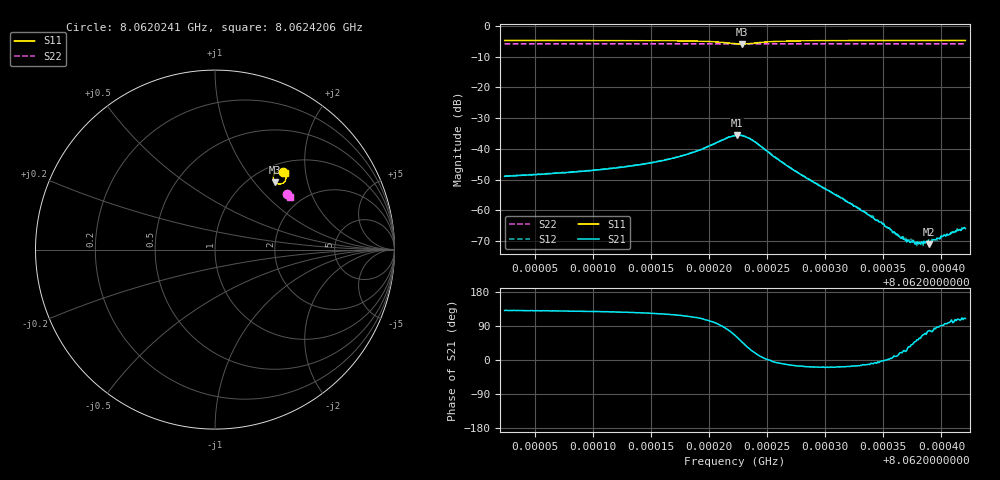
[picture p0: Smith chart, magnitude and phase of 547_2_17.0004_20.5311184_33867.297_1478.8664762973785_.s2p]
#  HZ  S  RI  R  50.00
! Rohde & Schwarz Vector Network Analyzer
! Rohde-Schwarz,ZNB20-2Port,1311601062101988,3.16
! Created: UTC 3/20/2024, 11:16:39 PM
! freq[Hz]  re:S11  im:S11  re:S21  im:S21  re:S12  im:S12  re:S22  im:S22
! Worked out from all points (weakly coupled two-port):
!   401 points, 8.0620241 GHz to 8.0624206 GHz, reference 50 ohm
!   highest |S21| = -35.57 dB at 8.0622243 GHz (marker M1); lowest = -70.9 dB at 8.0623889 GHz (marker M2)
!   lowest |S11| = -6.0 dB at 8.0622283 GHz (marker M3), VSWR 3.02, Z = 64.1 + j64.4 ohm
!   |S11| at or under -10 dB: nowhere
!   |S22| runs from -5.9 to -5.9 dB; largest |S21 - S12| = 0.0011
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8.06202406e9  0.3785 0.4342  -0.00233 0.00271  -0.00219 0.00288  0.4037 0.3101
8.06209048e9  0.3843 0.4283  -0.00269 0.00337  -0.00251 0.00354  0.406 0.3066
8.0621569e9  0.3919 0.4169  -0.00332 0.00533  -0.00303 0.00554  0.4085 0.3028
8.06218565e9  0.3956 0.4037  -0.00344 0.00796  -0.00302 0.00825  0.4095 0.3008
8.06220746e9  0.3889 0.38  -0.00118 0.0129  -0.000476 0.0129  0.4098 0.2988
8.06222233e9  0.3543 0.3655  0.0069 0.0149  0.0079 0.0145  0.4084 0.298
8.06222431e9  0.3474 0.3674  0.00849 0.0143  0.00931 0.0138  0.4081 0.2981
8.06222828e9  0.335 0.3753  0.0111 0.0121  0.0118 0.0116  0.4077 0.2984
8.06223918e9  0.3254 0.4093  0.0124 0.00434  0.0127 0.00359  0.4083 0.2995
8.06226595e9  0.355 0.4359  0.00541 -0.00109  0.00541 -0.00144  0.4107 0.299
8.06228875e9  0.368 0.4354  0.0028 -0.000931  0.00283 -0.00111  0.4119 0.2977
8.06233931e9  0.3803 0.4308  0.000789 -0.000116  0.00078 -0.000199  0.4143 0.2949
8.06235517e9  0.3826 0.4295  0.000513 1.76e-05  0.00052 -9.42e-06  0.4148 0.2941
8.06236211e9  0.3835 0.4288  0.000403 7.87e-05  0.000394 7.31e-05  0.4151 0.2936
8.06237103e9  0.3844 0.4283  0.00028 0.000179  0.000292 0.000134  0.4154 0.2931
8.06237897e9  0.3853 0.4274  0.000183 0.000249  0.00017 0.000211  0.4157 0.2926
8.06238293e9  0.3858 0.4271  0.000143 0.000276  0.000167 0.000208  0.4159 0.2925
8.06238888e9  0.3863 0.4267  6.49e-05 0.000276  9.77e-05 0.000321  0.416 0.2923
8.06239086e9  0.3866 0.4267  7.12e-05 0.000291  8.92e-05 0.000286  0.4162 0.2921
8.06239681e9  0.3871 0.4263  2.16e-05 0.000352  2.25e-05 0.000317  0.4163 0.2918
8.06240078e9  0.3875 0.4259  -9.62e-06 0.000377  6.61e-06 0.000366  0.4166 0.2916
8.0624206e9  0.3892 0.4246  -0.000171 0.000479  -0.000144 0.000504  0.4172 0.2906
